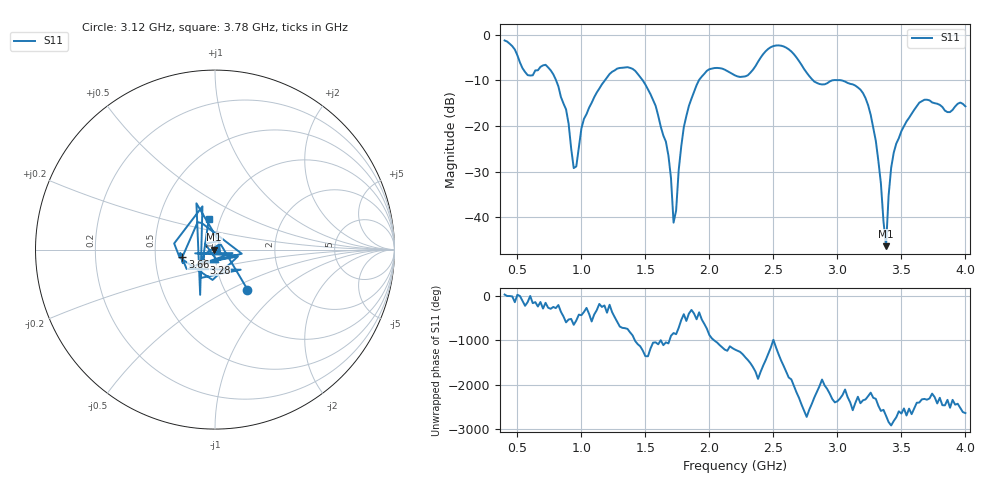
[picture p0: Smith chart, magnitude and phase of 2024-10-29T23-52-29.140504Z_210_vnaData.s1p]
!Created with skrf (http://scikit-rf.org).
# Hz S RI R 50.0
!freq ReS11 ImS11
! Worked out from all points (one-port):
!   181 points, 400 MHz to 4 GHz, reference 50 ohm
!   lowest |S11| = -46.3 dB at 3.38 GHz (marker M1), VSWR 1.01, Z = 49.5 - j0.0297 ohm
!   |S11| at or under -10 dB: 802.6 MHz to 1.183 GHz (380.4 MHz wide, 38.3 % of centre); 1.48 GHz to 1.918 GHz (437.7 MHz wide, 25.8 % of centre); 3.035 GHz to end of sweep (the widest 3 of 4)
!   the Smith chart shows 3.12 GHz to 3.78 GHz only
!   S11 on the Smith chart (normalised r, x): 3.12 GHz: 1.27, -0.62; 3.28 GHz: 0.87, -0.13; 3.66 GHz: 0.69, -0.06; 3.78 GHz: 0.88, +0.31
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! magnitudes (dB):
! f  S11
! 400 MHz  -1.2
! 580 MHz  -8.8
! 740 MHz  -7.1
! 860 MHz  -15.0
! 940 MHz  -29.2
! 1.02 GHz  -18.4
! 1.3 GHz  -7.3
! 1.58 GHz  -15.6
! 1.68 GHz  -26.5
! 1.72 GHz  -41.2
! 1.76 GHz  -29.7
! 1.8 GHz  -20.2
! 1.92 GHz  -9.9
! 2.2 GHz  -8.9
! 2.5 GHz  -2.5
! 2.66 GHz  -4.2
! 2.82 GHz  -10.3
! 3.1 GHz  -10.7
! 3.12 GHz  -10.9
! 3.28 GHz  -20.3
! 3.34 GHz  -32.6
! 3.38 GHz  -46.3
! 3.4 GHz  -35.2
! 3.44 GHz  -25.8
! 3.56 GHz  -18.2
! 3.66 GHz  -14.6
! 3.78 GHz  -15.1
! 4 GHz  -15.7
